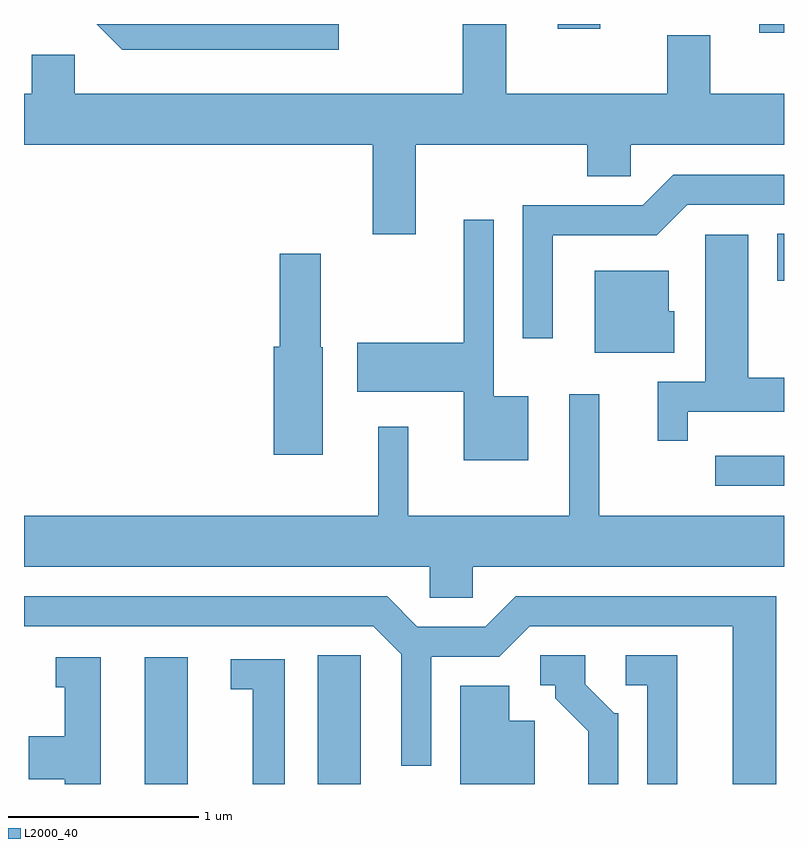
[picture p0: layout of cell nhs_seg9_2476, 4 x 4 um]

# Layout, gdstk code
import gdstk
lib = gdstk.Library(unit=1e-6, precision=1e-09)
def R(c, l, rs):  # rectangles x0, y0, x1, y1
    for r in rs: c.add(gdstk.rectangle(r[:2], r[2:], *l))
def P(c, l, *ps):  # polygons
    for p in ps: c.add(gdstk.Polygon(p, *l))
L2000_40 = (2000, 40)

nhs_seg9_2476 = lib.new_cell('nhs_seg9_2476')
R(nhs_seg9_2476, L2000_40, [(258.246,2008.432,258.474,2009.099), (259.156,2008.432,259.384,2009.109), (261.248,2010.001,261.611,2010.159), (261.576,2011.081,261.611,2011.329), (261.481,2012.386,261.611,2012.432), (260.421,2012.406,260.644,2012.432)])
P(nhs_seg9_2476, L2000_40, [(259.674,2011.796),(260.576,2011.796),(260.576,2011.631),(260.804,2011.631),(260.804,2011.796),(261.611,2011.796),(261.611,2012.064),(261.224,2012.064),(261.224,2012.374),(260.996,2012.374),(260.996,2012.064),(260.149,2012.064),(260.149,2012.432),(259.921,2012.432),(259.921,2012.064),(257.879,2012.064),(257.879,2012.269),(257.651,2012.269),(257.651,2012.064),(257.611,2012.064),(257.611,2011.796),(259.446,2011.796),(259.446,2011.326),(259.674,2011.326)],
  [(259.267,2012.432),(257.993,2012.432),(258.129,2012.296),(259.267,2012.296)],
  [(260.394,2011.321),(260.942,2011.321),(261.102,2011.481),(261.611,2011.481),(261.611,2011.639),(261.029,2011.639),(260.868,2011.479),(260.236,2011.479),(260.236,2010.778),(260.394,2010.778)],
  [(260.264,2010.474),(260.084,2010.474),(260.084,2011.403),(259.926,2011.403),(259.926,2010.754),(259.366,2010.754),(259.366,2010.496),(259.926,2010.496),(259.926,2010.136),(260.264,2010.136)],
  [(261.104,2010.391),(261.611,2010.391),(261.611,2010.569),(261.424,2010.569),(261.424,2011.324),(261.196,2011.324),(261.196,2010.549),(260.946,2010.549),(260.946,2010.238),(261.104,2010.238)],
  [(259.184,2010.73),(259.174,2010.73),(259.174,2011.224),(258.956,2011.224),(258.956,2010.734),(258.926,2010.734),(258.926,2010.166),(259.184,2010.166)],
  [(261.034,2010.919),(261.004,2010.919),(261.004,2011.134),(260.616,2011.134),(260.616,2010.701),(261.034,2010.701)],
  [(259.974,2009.576),(261.611,2009.576),(261.611,2009.844),(260.639,2009.844),(260.639,2010.483),(260.481,2010.483),(260.481,2009.844),(259.634,2009.844),(259.634,2010.313),(259.476,2010.313),(259.476,2009.844),(257.611,2009.844),(257.611,2009.576),(259.746,2009.576),(259.746,2009.411),(259.974,2009.411)],
  [(261.569,2009.419),(260.199,2009.419),(260.039,2009.259),(259.682,2009.259),(259.522,2009.419),(257.611,2009.419),(257.611,2009.261),(259.449,2009.261),(259.596,2009.114),(259.596,2008.528),(259.754,2008.528),(259.754,2009.101),(260.111,2009.101),(260.272,2009.261),(261.341,2009.261),(261.341,2008.432),(261.569,2008.432)],
  [(261.049,2009.109),(260.778,2009.109),(260.778,2008.951),(260.891,2008.951),(260.891,2008.432),(261.049,2008.432)],
  [(260.739,2008.804),(260.717,2008.804),(260.564,2008.957),(260.564,2009.109),(260.328,2009.109),(260.328,2008.951),(260.406,2008.951),(260.406,2008.884),(260.581,2008.709),(260.581,2008.432),(260.739,2008.432)],
  [(258.014,2009.099),(257.778,2009.099),(257.778,2008.941),(257.826,2008.941),(257.826,2008.684),(257.636,2008.684),(257.636,2008.456),(257.826,2008.456),(257.826,2008.432),(258.014,2008.432)],
  [(258.984,2009.089),(258.698,2009.089),(258.698,2008.931),(258.816,2008.931),(258.816,2008.432),(258.984,2008.432)],
  [(260.299,2008.764),(260.164,2008.764),(260.164,2008.949),(259.906,2008.949),(259.906,2008.432),(260.299,2008.432)])

lib.write_gds('nhs_seg9_2476.gds')
